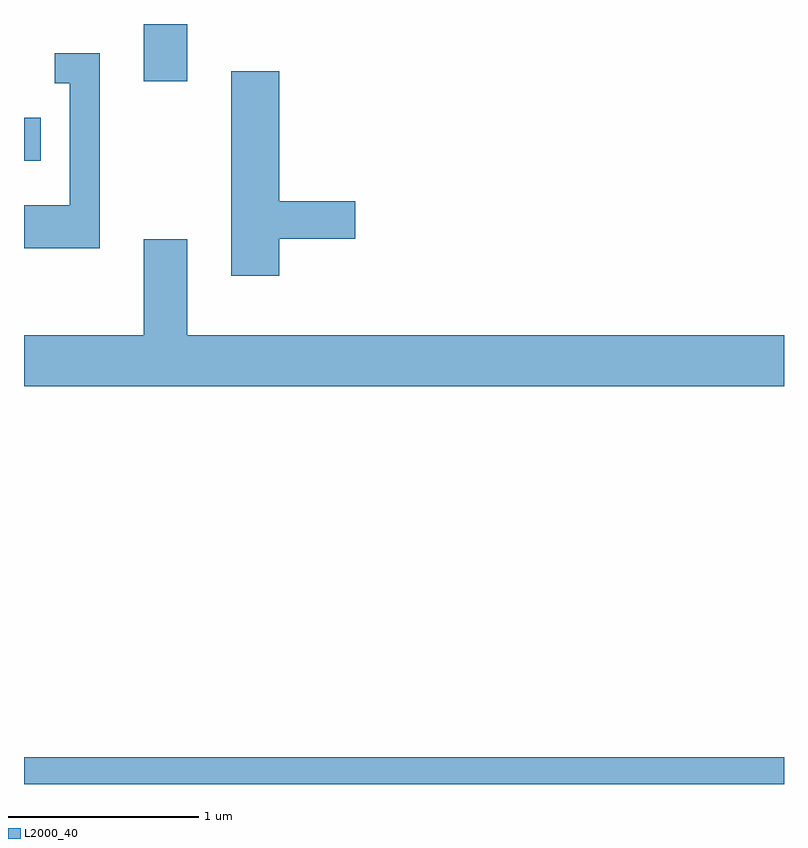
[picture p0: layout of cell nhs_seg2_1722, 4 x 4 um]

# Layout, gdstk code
import gdstk
lib = gdstk.Library(unit=1e-6, precision=1e-09)
def R(c, l, rs):  # rectangles x0, y0, x1, y1
    for r in rs: c.add(gdstk.rectangle(r[:2], r[2:], *l))
def P(c, l, *ps):  # polygons
    for p in ps: c.add(gdstk.Polygon(p, *l))
L2000_40 = (2000, 40)

nhs_seg2_1722 = lib.new_cell('nhs_seg2_1722')
R(nhs_seg2_1722, L2000_40, [(235.611,1021.802,239.611,1021.944), (235.611,1025.081,235.699,1025.309), (236.241,1025.501,236.469,1025.802)])
P(nhs_seg2_1722, L2000_40, [(236.009,1025.649),(235.773,1025.649),(235.773,1025.491),(235.851,1025.491),(235.851,1024.849),(235.611,1024.849),(235.611,1024.621),(236.009,1024.621)],
  [(236.954,1024.671),(237.354,1024.671),(237.354,1024.869),(236.954,1024.869),(236.954,1025.554),(236.701,1025.554),(236.701,1024.476),(236.954,1024.476)],
  [(239.611,1024.164),(236.469,1024.164),(236.469,1024.669),(236.241,1024.669),(236.241,1024.164),(235.611,1024.164),(235.611,1023.896),(239.611,1023.896)])

lib.write_gds('nhs_seg2_1722.gds')
